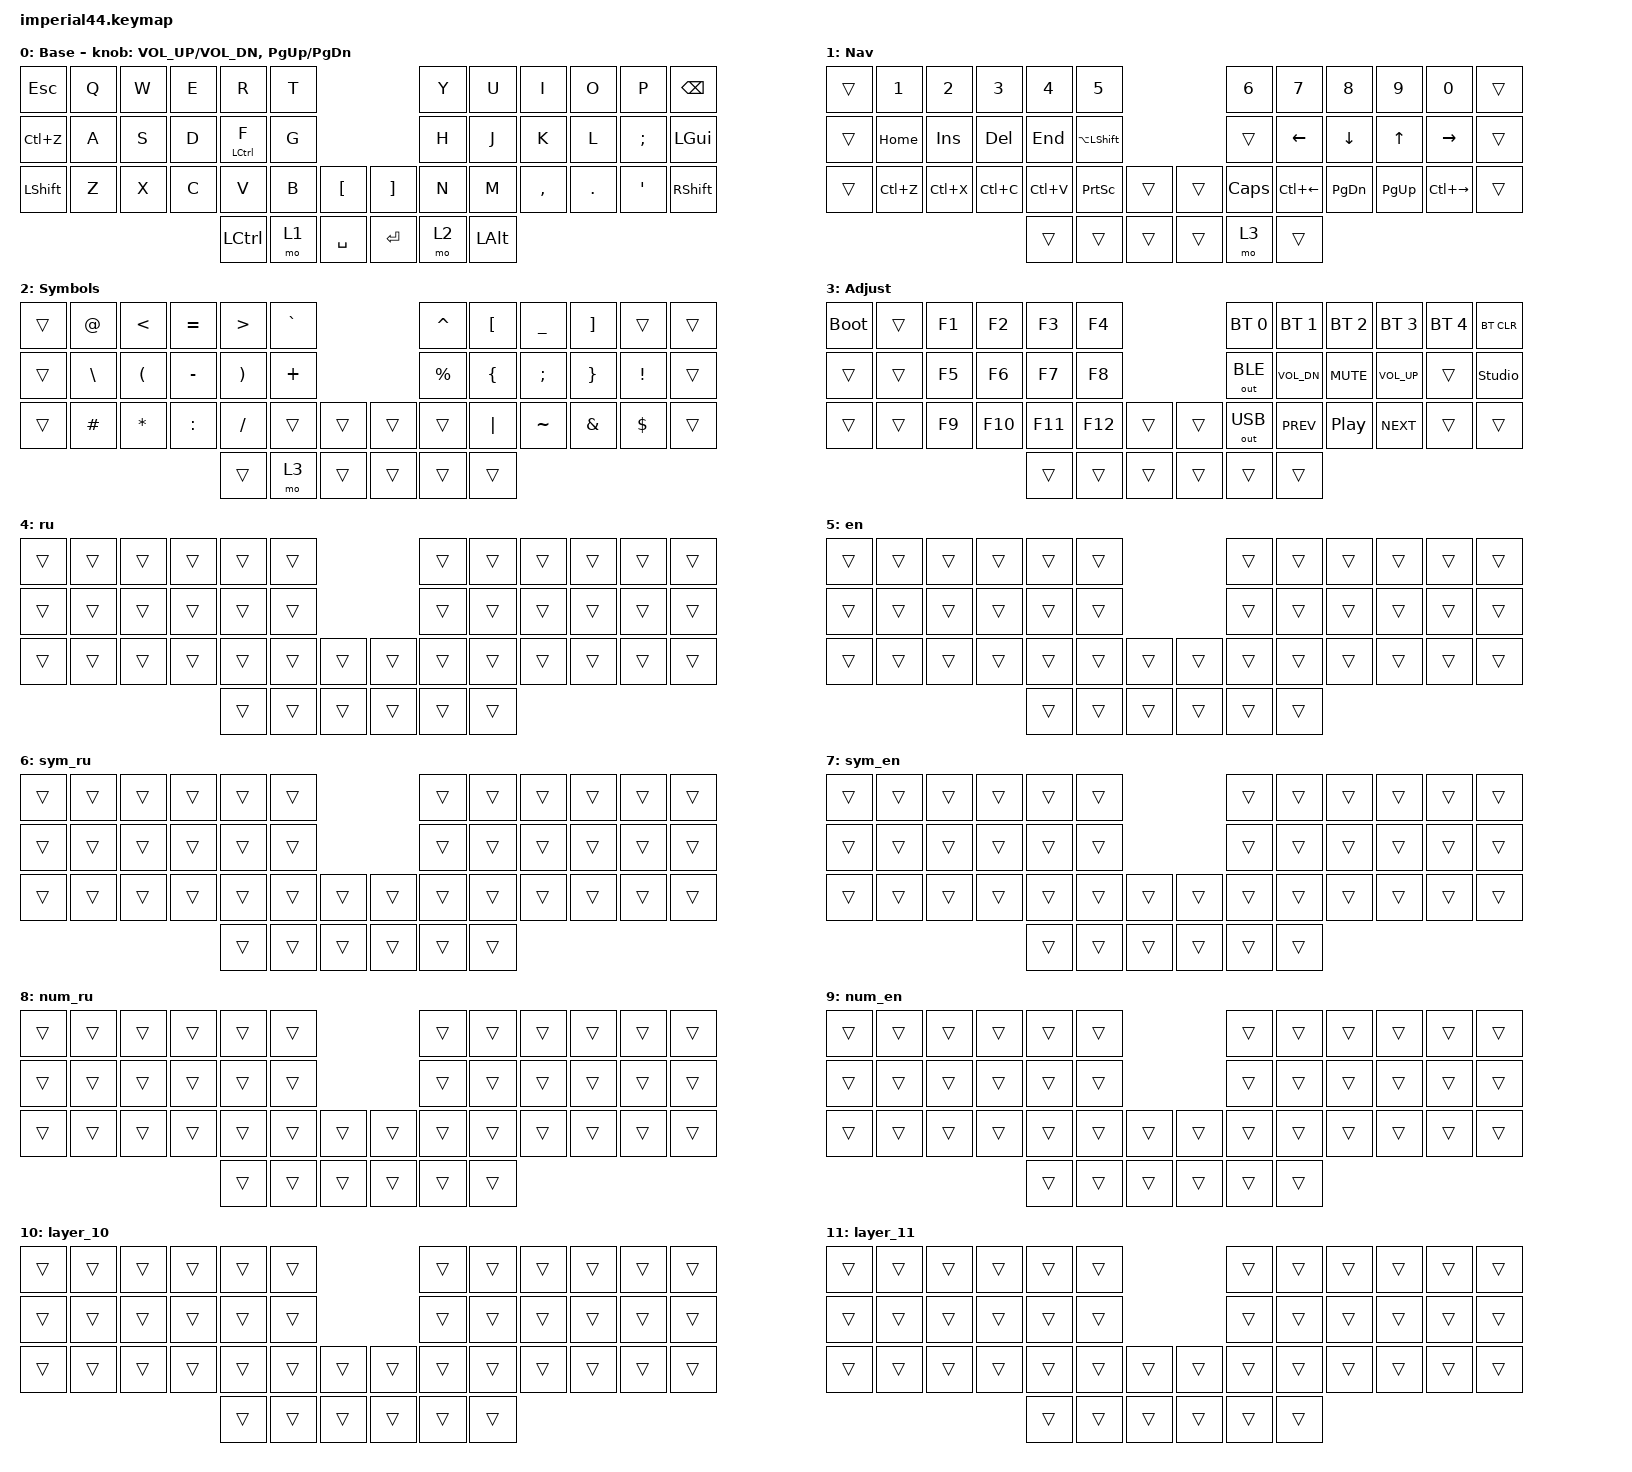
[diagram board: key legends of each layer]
#include "keys_ru.h"
#include <behaviors.dtsi>
#include <dt-bindings/zmk/bt.h>
#include <dt-bindings/zmk/keys.h>
#include <dt-bindings/zmk/outputs.h>

/ {
    macros {
        new_macro: new_macro {
            compatible = "zmk,behavior-macro";
            #binding-cells = <0>;
            bindings = <&none>;
            label = "NEW_MACRO";
        };
    };

    combos {
        compatible = "zmk,combos";

        kp_yo {
            bindings = <&kp RU_CYRILLIC_IO>;
            key-positions = <4 3>;
            layers = <4>;
        };

        ru_ha {
            bindings = <&kp RU_CYRILLIC_HA>;
            key-positions = <7 8>;
            layers = <4>;
        };

        ru_hard_sign {
            bindings = <&kp RU_CYRILLIC_HARD_SIGN>;
            key-positions = <8 9>;
            layers = <4>;
        };

        ru_e {
            bindings = <&kp RU_CYRILLIC_E>;
            key-positions = <21 22>;
            layers = <4>;
        };
    };

    keymap {
        compatible = "zmk,keymap";

        base {
            bindings = <
&kp ESC    &kp Q  &kp W  &kp E  &kp R        &kp T                          &kp Y  &kp U     &kp I      &kp O    &kp P     &kp BACKSPACE
&kp LC(Z)  &kp A  &kp S  &kp D  &mt LCTRL F  &kp G                          &kp H  &kp J     &kp K      &kp L    &kp SEMI  &kp LGUI
&kp LSHFT  &kp Z  &kp X  &kp C  &kp V        &kp B  &kp LBKT     &kp RBKT   &kp N  &kp M     &kp COMMA  &kp DOT  &kp SQT   &kp RSHFT
                                &kp LCTRL    &mo 1  &kp SPACE    &kp ENTER  &mo 2  &kp LALT
            >;

            display-name = "Base";
            sensor-bindings =
                <&inc_dec_kp C_VOL_UP C_VOL_DN>,
                <&inc_dec_kp PG_UP PG_DN>;
        };

        nav {
            bindings = <
&trans  &kp N1     &kp N2     &kp N3      &kp N4     &kp N5                             &kp N6        &kp N7        &kp N8     &kp N9     &kp N0         &trans
&trans  &kp HOME   &kp INS    &kp DELETE  &kp END    &kp LA(LSHFT)                      &trans        &kp LEFT      &kp DOWN   &kp UP     &kp RIGHT      &trans
&trans  &kp LC(Z)  &kp LC(X)  &kp LC(C)   &kp LC(V)  &kp PRINTSCREEN  &trans    &trans  &kp CAPSLOCK  &kp LC(LEFT)  &kp PG_DN  &kp PG_UP  &kp LC(RIGHT)  &trans
                                          &trans     &trans           &trans    &trans  &mo 3         &trans
            >;

            display-name = "Nav";
        };

        sym {
            bindings = <
&trans  &kp AT    &kp LT    &kp EQUAL  &kp GT    &kp GRAVE                    &kp CARET  &kp LBKT  &kp UNDER  &kp RBKT  &trans    &trans
&trans  &kp BSLH  &kp LPAR  &kp MINUS  &kp RPAR  &kp PLUS                     &kp PRCNT  &kp LBRC  &kp SEMI   &kp RBRC  &kp EXCL  &trans
&trans  &kp HASH  &kp STAR  &kp COLON  &kp FSLH  &trans     &trans    &trans  &trans     &kp PIPE  &kp TILDE  &kp AMPS  &kp DLLR  &trans
                                       &trans    &mo 3      &trans    &trans  &trans     &trans
            >;

            display-name = "Symbols";
        };

        adj {
            bindings = <
&bootloader  &trans  &kp F1  &kp F2   &kp F3   &kp F4                     &bt BT_SEL 0  &bt BT_SEL 1  &bt BT_SEL 2      &bt BT_SEL 3  &bt BT_SEL 4  &bt BT_CLR
&trans       &trans  &kp F5  &kp F6   &kp F7   &kp F8                     &out OUT_BLE  &kp C_VOL_DN  &kp C_MUTE        &kp C_VOL_UP  &trans        &studio_unlock
&trans       &trans  &kp F9  &kp F10  &kp F11  &kp F12  &trans    &trans  &out OUT_USB  &kp C_PREV    &kp C_PLAY_PAUSE  &kp C_NEXT    &trans        &trans
                                      &trans   &trans   &trans    &trans  &trans        &trans
            >;

            display-name = "Adjust";
        };

        ru {
            bindings = <
&trans  &trans  &trans  &trans  &trans  &trans                    &trans  &trans  &trans  &trans  &trans  &trans
&trans  &trans  &trans  &trans  &trans  &trans                    &trans  &trans  &trans  &trans  &trans  &trans
&trans  &trans  &trans  &trans  &trans  &trans  &trans    &trans  &trans  &trans  &trans  &trans  &trans  &trans
                                &trans  &trans  &trans    &trans  &trans  &trans
            >;
        };

        en {
            bindings = <
&trans  &trans  &trans  &trans  &trans  &trans                    &trans  &trans  &trans  &trans  &trans  &trans
&trans  &trans  &trans  &trans  &trans  &trans                    &trans  &trans  &trans  &trans  &trans  &trans
&trans  &trans  &trans  &trans  &trans  &trans  &trans    &trans  &trans  &trans  &trans  &trans  &trans  &trans
                                &trans  &trans  &trans    &trans  &trans  &trans
            >;
        };

        sym_ru {
            bindings = <
&trans  &trans  &trans  &trans  &trans  &trans                    &trans  &trans  &trans  &trans  &trans  &trans
&trans  &trans  &trans  &trans  &trans  &trans                    &trans  &trans  &trans  &trans  &trans  &trans
&trans  &trans  &trans  &trans  &trans  &trans  &trans    &trans  &trans  &trans  &trans  &trans  &trans  &trans
                                &trans  &trans  &trans    &trans  &trans  &trans
            >;
        };

        sym_en {
            bindings = <
&trans  &trans  &trans  &trans  &trans  &trans                    &trans  &trans  &trans  &trans  &trans  &trans
&trans  &trans  &trans  &trans  &trans  &trans                    &trans  &trans  &trans  &trans  &trans  &trans
&trans  &trans  &trans  &trans  &trans  &trans  &trans    &trans  &trans  &trans  &trans  &trans  &trans  &trans
                                &trans  &trans  &trans    &trans  &trans  &trans
            >;
        };

        num_ru {
            bindings = <
&trans  &trans  &trans  &trans  &trans  &trans                    &trans  &trans  &trans  &trans  &trans  &trans
&trans  &trans  &trans  &trans  &trans  &trans                    &trans  &trans  &trans  &trans  &trans  &trans
&trans  &trans  &trans  &trans  &trans  &trans  &trans    &trans  &trans  &trans  &trans  &trans  &trans  &trans
                                &trans  &trans  &trans    &trans  &trans  &trans
            >;
        };

        num_en {
            bindings = <
&trans  &trans  &trans  &trans  &trans  &trans                    &trans  &trans  &trans  &trans  &trans  &trans
&trans  &trans  &trans  &trans  &trans  &trans                    &trans  &trans  &trans  &trans  &trans  &trans
&trans  &trans  &trans  &trans  &trans  &trans  &trans    &trans  &trans  &trans  &trans  &trans  &trans  &trans
                                &trans  &trans  &trans    &trans  &trans  &trans
            >;
        };

        layer_10 {
            bindings = <
&trans  &trans  &trans  &trans  &trans  &trans                    &trans  &trans  &trans  &trans  &trans  &trans
&trans  &trans  &trans  &trans  &trans  &trans                    &trans  &trans  &trans  &trans  &trans  &trans
&trans  &trans  &trans  &trans  &trans  &trans  &trans    &trans  &trans  &trans  &trans  &trans  &trans  &trans
                                &trans  &trans  &trans    &trans  &trans  &trans
            >;
        };

        layer_11 {
            bindings = <
&trans  &trans  &trans  &trans  &trans  &trans                    &trans  &trans  &trans  &trans  &trans  &trans
&trans  &trans  &trans  &trans  &trans  &trans                    &trans  &trans  &trans  &trans  &trans  &trans
&trans  &trans  &trans  &trans  &trans  &trans  &trans    &trans  &trans  &trans  &trans  &trans  &trans  &trans
                                &trans  &trans  &trans    &trans  &trans  &trans
            >;
        };
    };
};
